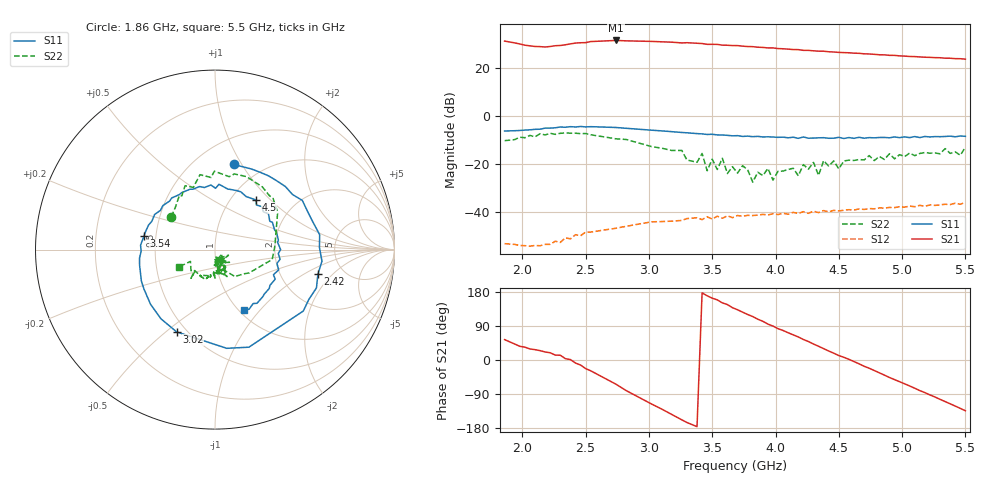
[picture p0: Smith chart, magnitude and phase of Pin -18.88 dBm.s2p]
! RsaToolbox (C) 2015 Rohde & Schwarz America
! Number of points: 78
! Number of ports: 2
! Balanced ports?: No
# Hz S RI R 50
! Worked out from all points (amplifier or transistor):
!   78 points, 1.86 GHz to 5.5 GHz, reference 50 ohm
!   highest |S21| = 31.5 dB at 2.74 GHz (marker M1)
!   |S21| within 3 dB of that: start of sweep to 3.918 GHz
!   unconditionally stable (mu >= 1): start of sweep to end of sweep
!   at 2.42 GHz: K = 2.69, MAG = 32.9 dB, |S12| = -49.6 dB
!   at 3.98 GHz: K = 1.91, MAG = 29.1 dB, |S12| = -40.8 dB
!   at 5.5 GHz: K = 1.73, MAG = 24.9 dB, |S12| = -36.0 dB
!   S11 on the Smith chart (normalised r, x): 1.86 GHz: 0.74, +0.92; 2.42 GHz: 3.25, -1.37; 3.02 GHz: 0.44, -0.54; 3.54 GHz: 0.43, +0.08; 4.5 GHz: 1.30, +0.82; 5.5 GHz: 1.05, -0.83
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1.86e9  0.105 0.4744  21.63 29.57  -3.67e-05 -0.00216  -0.2447 0.1823
1.98e9  0.2488 0.4319  25.76 18.8  -0.000589 -0.00189  -0.1982 0.302
2.06e9  0.3426 0.3842  25.46 14.23  -0.000564 -0.00183  -0.167 0.3556
2.3e9  0.5832 0.083  28.95 6.433  -0.000579 -0.00222  0.108 0.4216
2.42e9  0.5734 -0.1371  33 -4.685  -0.00163 -0.0029  0.2643 0.3491
2.5e9  0.5228 -0.2777  31.38 -13.14  -0.0023 -0.00299  0.3238 0.2844
2.54e9  0.492 -0.3422  31.51 -17.08  -0.00226 -0.00302  0.3489 0.2075
2.74e9  0.1888 -0.5437  16.61 -33.93  -0.0042 -0.00171  0.3334 0.019
2.82e9  0.0654 -0.55  6.019 -36.59  -0.0049 -0.000895  0.3187 -0.0551
3.02e9  -0.2138 -0.4585  -15.85 -32.45  -0.00595 0.00162  0.1897 -0.1302
3.1e9  -0.3011 -0.3856  -22.42 -27.38  -0.0056 0.00277  0.1656 -0.1339
3.3e9  -0.4102 -0.1752  -32.74 -8.828  -0.00488 0.00532  0.0461 -0.1116
3.54e9  -0.3958 0.0744  -29.14 11.39  -0.00158 0.00793  0.0122 -0.0754
3.7e9  -0.3363 0.1959  -19.97 21.7  0.00111 0.00831  0.0222 -0.0605
3.82e9  -0.2532 0.2702  -11.71 25.5  0.00293 0.00781  0.0051 -0.0413
3.98e9  -0.1397 0.3363  0.215 26.39  0.00572 0.0071  0.0397 -0.0233
4.3e9  0.0813 0.3362  17.02 15.4  0.01 0.00237  0.0807 -0.071
4.5e9  0.2283 0.2769  20.84 4.333  0.0103 -0.00167  0.0432 -0.0657
4.66e9  0.2979 0.2004  20.05 -3.57  0.0103 -0.00502  0.0542 -0.1109
4.9e9  0.3484 0.0414  12.81 -13.32  0.0071 -0.0101  0.00249 -0.1627
5.22e9  0.3065 -0.1986  -0.6521 -16.76  -0.00112 -0.0139  -0.0831 -0.1454
5.5e9  0.1632 -0.3392  -10.67 -11.07  -0.0091 -0.0129  -0.201 -0.0964
